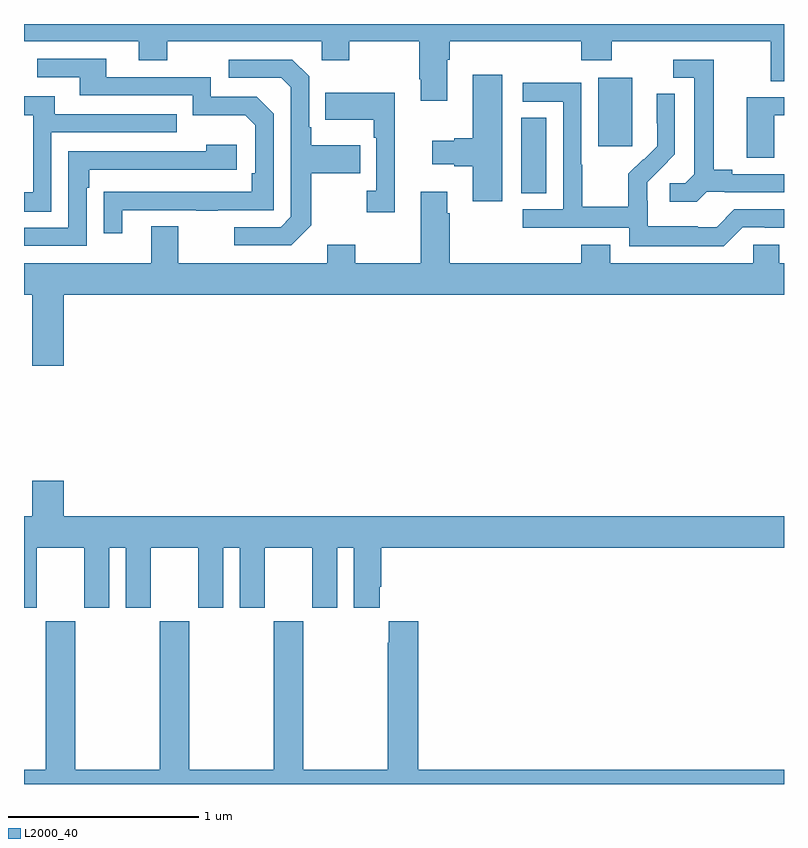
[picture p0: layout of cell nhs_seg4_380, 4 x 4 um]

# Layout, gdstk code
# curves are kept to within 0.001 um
import gdstk
lib = gdstk.Library(unit=1e-6, precision=1e-09)
def R(c, l, rs):  # rectangles x0, y0, x1, y1
    for r in rs: c.add(gdstk.rectangle(r[:2], r[2:], *l))
def P(c, l, *ps):  # polygons
    for p in ps: c.add(gdstk.Polygon(p, *l))
L2000_40 = (2000, 40)

nhs_seg4_380 = lib.new_cell('nhs_seg4_380')
R(nhs_seg4_380, L2000_40, [(131.618,808.009,131.749,808.406), (132.023,808.257,132.202,808.618)])
P(nhs_seg4_380, L2000_40, [(131.227,808.712),(131.24,808.712),(131.24,808.808),(131.933,808.808),(131.933,808.709),(132.093,808.709),(132.093,808.808),(132.929,808.808),(132.929,808.6),(133,808.6),(133,808.9),(129,808.9),(129,808.808),(129.605,808.808),(129.605,808.709),(129.753,808.709),(129.753,808.808),(130.566,808.808),(130.566,808.709),(130.713,808.709),(130.713,808.808),(131.08,808.808),(131.08,808.609),(131.087,808.609),(131.087,808.497),(131.227,808.497)],
  [(129.517,807.921),(129.907,807.921),(129.907,807.916),(130.019,807.916),(130.019,807.921),(130.314,807.921),(130.314,808.428),(130.224,808.518),(129.984,808.518),(129.984,808.62),(129.433,808.62),(129.433,808.716),(129.069,808.716),(129.069,808.62),(129.293,808.62),(129.293,808.524),(129.888,808.524),(129.888,808.421),(130.165,808.421),(130.218,808.368),(130.218,808.114),(130.198,808.114),(130.198,808.017),(129.421,808.016),(129.421,807.798),(129.517,807.798)],
  [(130.513,807.841),(130.513,808.114),(130.769,808.114),(130.769,808.261),(130.513,808.261),(130.513,808.357),(130.5,808.357),(130.5,808.626),(130.413,808.713),(130.077,808.713),(130.077,808.617),(130.353,808.617),(130.404,808.566),(130.404,807.885),(130.35,807.831),(130.107,807.831),(130.107,807.735),(130.407,807.735)],
  [(132.594,808.017),(132.688,808.017),(132.688,808.014),(133,808.014),(133,808.11),(132.727,808.11),(132.727,808.133),(132.631,808.133),(132.631,808.713),(132.417,808.713),(132.417,808.617),(132.527,808.617),(132.527,808.109),(132.48,808.062),(132.399,808.062),(132.399,807.965),(132.542,807.965)],
  [(131.518,808.633),(131.363,808.633),(131.363,808.298),(131.264,808.298),(131.264,808.285),(131.148,808.285),(131.148,808.163),(131.264,808.163),(131.264,808.151),(131.363,808.151),(131.363,807.966),(131.518,807.966)],
  [(132.783,807.831),(132.899,807.831),(132.899,807.828),(133,807.828),(133,807.924),(132.738,807.924),(132.645,807.831),(132.545,807.831),(132.545,807.835),(132.282,807.835),(132.282,807.969),(132.28,807.969),(132.28,808.066),(132.426,808.214),(132.426,808.532),(132.33,808.532),(132.33,808.378),(132.332,808.378),(132.332,808.256),(132.261,808.185),(132.258,808.188),(132.181,808.111),(132.181,807.937),(131.937,807.937),(131.937,808.16),(131.934,808.16),(131.934,808.59),(131.625,808.59),(131.625,808.491),(131.838,808.491),(131.838,807.924),(131.625,807.924),(131.625,807.828),(132.186,807.828),(132.186,807.731),(132.683,807.731)],
  [(130.952,808.537),(130.585,808.537),(130.585,808.397),(130.842,808.397),(130.842,808.301),(130.854,808.301),(130.854,808.022),(130.803,808.022),(130.803,807.909),(130.952,807.909)],
  [(129.144,808.329),(129.803,808.329),(129.803,808.425),(129.163,808.425),(129.163,808.519),(129,808.519),(129,808.419),(129.048,808.419),(129.048,808.014),(129,808.014),(129,807.913),(129.144,807.913)],
  [(132.948,808.419),(133,808.419),(133,808.515),(132.803,808.515),(132.803,808.195),(132.948,808.195)],
  [(129.33,808.037),(129.343,808.037),(129.343,808.134),(130.12,808.134),(130.12,808.264),(129.959,808.264),(129.959,808.23),(129.234,808.23),(129.234,807.828),(129,807.828),(129,807.732),(129.33,807.732)],
  [(129.208,807.476),(133,807.476),(133,807.64),(132.975,807.64),(132.975,807.738),(132.837,807.738),(132.837,807.64),(132.085,807.64),(132.085,807.739),(131.933,807.739),(131.933,807.64),(131.24,807.64),(131.24,807.905),(131.227,807.905),(131.227,808.018),(131.087,808.018),(131.087,807.64),(130.743,807.64),(130.743,807.739),(130.595,807.739),(130.595,807.64),(129.811,807.64),(129.811,807.835),(129.671,807.835),(129.671,807.64),(129,807.64),(129,807.476),(129.044,807.476),(129.044,807.102),(129.208,807.102)],
  [(129.067,806.144),(129.317,806.144),(129.317,805.827),(129.448,805.827),(129.448,806.144),(129.536,806.144),(129.536,805.827),(129.667,805.827),(129.667,806.144),(129.917,806.144),(129.917,805.827),(130.048,805.827),(130.048,806.144),(130.136,806.144),(130.136,805.827),(130.267,805.827),(130.267,806.144),(130.517,806.144),(130.517,805.827),(130.648,805.827),(130.648,806.144),(130.736,806.144),(130.736,805.827),(130.873,805.827),(130.873,805.939),(130.88,805.939),(130.88,806.144),(133,806.144),(133,806.308),(129.208,806.308),(129.208,806.497),(129.044,806.497),(129.044,806.308),(129,806.308),(129,805.827),(129.067,805.827)],
  [(133,804.976),(131.075,804.976),(131.075,805.756),(130.919,805.756),(130.919,805.643),(130.915,805.643),(130.915,804.976),(130.47,804.976),(130.47,805.756),(130.315,805.756),(130.315,804.976),(129.87,804.976),(129.87,805.756),(129.715,805.756),(129.715,804.976),(129.27,804.976),(129.27,805.756),(129.114,805.756),(129.114,804.976),(129,804.976),(129,804.9),(133,804.9)])

lib.write_gds('nhs_seg4_380.gds')
